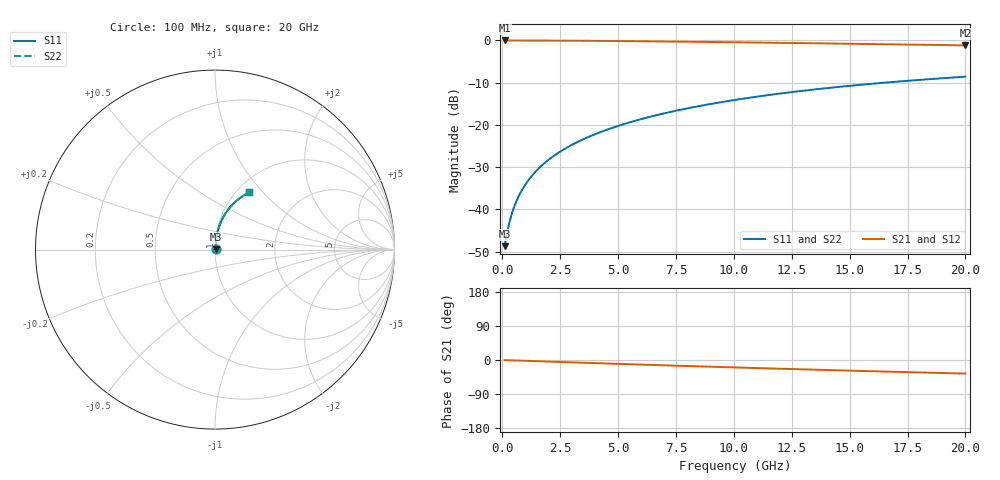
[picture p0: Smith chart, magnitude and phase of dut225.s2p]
! Touchstone file exported from HFSS 2024.1.0
!  File:  C:/UserFiles/LocalFiles/RDL_TSV_Batchsim/temp_RDL_bottom_225_1778700602.aedt
!  Generated:  03:32:51 AM May 14, 2026
!  Design:  RDL_bottom
!  Project:  temp_RDL_bottom_225_1778700602
!  Setup:  Setup1
!  Solution:  Sweep
! Variables:
!  dtsv = 10.80580581um
!  hbump = 3um
!  htsv = 90.78um
!  ldown = 470.23um
!  lrdl = 100um
!  p = 40
!  p1 = 49.56um
!  rhole = 1um
!  t = 450um
!  tdown = 3.22um
!  trdl = 3.915915916um
!  wdown = 18.16um
!  wrdl = 20um
# GHz S MA R 50.000000
! Terminal data exported
! Port[1] = RDL1_T1
! Port[2] = RDL1_T2
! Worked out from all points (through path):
!   200 points, 100 MHz to 20 GHz, reference 50 ohm
!   highest |S21| = -0.03 dB at 100 MHz (marker M1); lowest = -1.2 dB at 20 GHz (marker M2)
!   group delay of S21, straight-line fit = 4.96 ps
!   lowest |S11| = -48.7 dB at 100 MHz (marker M3), VSWR 1.01, Z = 50.3 + j0.206 ohm
!   |S11| at or under -10 dB: start of sweep to 16.55 GHz
!   |S22| runs from -48.7 to -8.6 dB; largest |S21 - S12| = 3.6e-15
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0.1  0.003657 34.1  0.997 -0.2  0.997 -0.2  0.003657 34.1
! Gamma 0 0 0 0
! Port Impedance 50 0 50 0
0.2  0.005125 52.5  0.9969 -0.4  0.9969 -0.4  0.005125 52.5
0.3  0.006849 61.8  0.9967 -0.6  0.9967 -0.6  0.006849 61.8
0.4  0.008644 67.1  0.9966 -0.9  0.9966 -0.9  0.008644 67.1
0.5  0.01046 70.6  0.9964 -1.1  0.9964 -1.1  0.01046 70.6
0.6  0.01229 73.1  0.9963 -1.3  0.9963 -1.3  0.01229 73.1
0.8  0.01597 76.3  0.996 -1.7  0.996 -1.7  0.01597 76.3
1.1  0.02156 79.2  0.9956 -2.3  0.9956 -2.3  0.02156 79.2
1.3  0.02531 80.3  0.9952 -2.7  0.9952 -2.7  0.02531 80.3
1.6  0.03097 81.5  0.9947 -3.4  0.9947 -3.4  0.03098 81.5
2.1  0.04049 82.5  0.9935 -4.4  0.9935 -4.4  0.04049 82.5
2.7  0.05202 82.9  0.9917 -5.6  0.9917 -5.6  0.05202 82.9
3.5  0.06753 82.9  0.9887 -7.2  0.9887 -7.2  0.06753 82.9
4.2  0.08123 82.5  0.9857 -8.6  0.9857 -8.6  0.08123 82.5
5  0.097 81.8  0.9817 -10.2  0.9817 -10.2  0.09701 81.8
5.9  0.1149 80.9  0.9767 -12.0  0.9767 -12.0  0.1149 80.9
6.8  0.1328 79.7  0.9713 -13.7  0.9713 -13.7  0.1328 79.7
8.4  0.1647 77.5  0.9608 -16.7  0.9608 -16.7  0.1647 77.5
10.1  0.1982 74.9  0.9488 -19.7  0.9488 -19.7  0.1982 74.9
13.4  0.2607 69.5  0.9242 -25.4  0.9242 -25.4  0.2608 69.6
16.7  0.3187 64.2  0.8983 -30.8  0.8983 -30.8  0.3188 64.2
20  0.3713 59.0  0.872 -35.9  0.872 -35.9  0.3714 59.0
